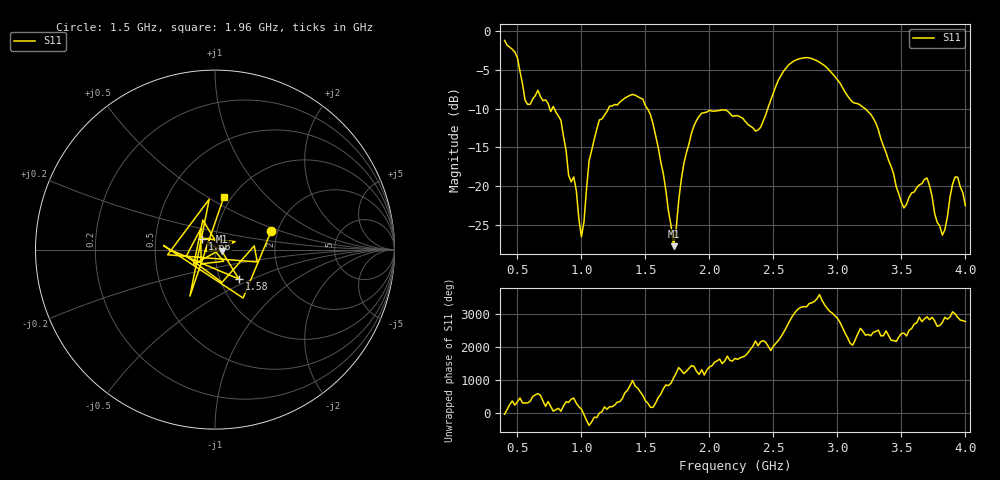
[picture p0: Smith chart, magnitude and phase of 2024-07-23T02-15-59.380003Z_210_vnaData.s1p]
!Created with skrf (http://scikit-rf.org).
# Hz S RI R 50.0
!freq ReS11 ImS11
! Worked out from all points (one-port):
!   181 points, 400 MHz to 4 GHz, reference 50 ohm
!   lowest |S11| = -27.7 dB at 1.72 GHz (marker M1), VSWR 1.09, Z = 54.2 - j0.77 ohm
!   |S11| at or under -10 dB: 787.4 MHz to 1.211 GHz (423.8 MHz wide, 42.4 % of centre); 1.515 GHz to 2.456 GHz (941.2 MHz wide, 47.4 % of centre); 3.216 GHz to end of sweep (the widest 3 of 4)
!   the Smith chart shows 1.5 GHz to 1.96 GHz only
!   S11 on the Smith chart (normalised r, x): 1.5 GHz: 1.85, +0.43; 1.58 GHz: 1.23, -0.42; 1.66 GHz: 0.86, +0.11; 1.96 GHz: 0.92, +0.59
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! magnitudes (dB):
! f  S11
! 400 MHz  -1.3
! 500 MHz  -3.4
! 560 MHz  -8.9
! 660 MHz  -7.7
! 860 MHz  -13.6
! 960 MHz  -20.5
! 1 GHz  -26.5
! 1.06 GHz  -16.7
! 1.14 GHz  -11.5
! 1.3 GHz  -9.2
! 1.5 GHz  -9.7
! 1.58 GHz  -13.5
! 1.66 GHz  -20.6
! 1.72 GHz  -27.7
! 1.76 GHz  -21.8
! 1.86 GHz  -13.2
! 1.96 GHz  -10.5
! 2.2 GHz  -10.9
! 2.38 GHz  -12.8
! 2.66 GHz  -3.9
! 3.1 GHz  -8.8
! 3.28 GHz  -11.2
! 3.5 GHz  -22.1
! 3.56 GHz  -21.4
! 3.7 GHz  -18.9
! 3.82 GHz  -26.3
! 3.92 GHz  -18.8
! 4 GHz  -22.5
